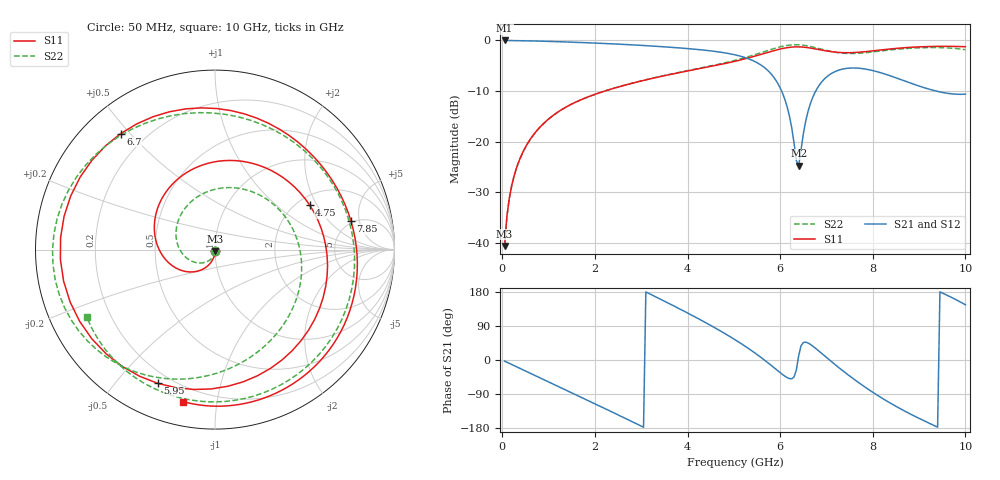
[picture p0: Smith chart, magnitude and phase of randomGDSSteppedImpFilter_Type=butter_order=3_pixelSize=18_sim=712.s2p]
! freq	dB(S11)	phase(S11)	dB(S12)	phase(S12)
!  dB(S21)	phase(S21)	dB(S22)	phase(S22)
!S-par simulation data
#  GHz  S  DB  R 50
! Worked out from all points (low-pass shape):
!   200 points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, 50 MHz to 10 GHz, reference 50 ohm
!   highest |S21| = -0.02 dB at 50 MHz (marker M1); lowest = -24.7 dB at 6.4 GHz (marker M2)
!   |S21| within 3 dB of the highest: start of sweep to 5.097 GHz
!   lowest |S11| = -40.6 dB at 50 MHz (marker M3), VSWR 1.02, Z = 50.1 - j0.929 ohm
!   |S11| at or under -10 dB: start of sweep to 2.218 GHz
!   |S22| runs from -40.7 to -0.9 dB; largest |S21 - S12| = 0
!   S11 on the Smith chart (normalised r, x): 50 MHz: 1.00, -0.02; 4.75 GHz: 2.31, +1.74; 5.95 GHz: 0.15, -0.65; 6.7 GHz: 0.11, +0.47; 7.85 GHz: 4.77, +3.78; 10 GHz: 0.12, -0.81
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0.05  -40.61 -84.0  -0.02 -3.0  -0.02 -3.0  -40.67 -85.5
0.2  -28.83 -96.6  -0.03 -11.7  -0.03 -11.7  -28.91 -102.8
0.5  -21.10 -111.2  -0.08 -29.0  -0.08 -29.0  -21.16 -126.8
1.15  -14.48 -138.8  -0.24 -66.5  -0.24 -66.5  -14.51 -175.7
1.75  -11.54 -162.9  -0.44 -101.1  -0.44 -101.1  -11.55 139.1
2.65  -8.84 159.4  -0.81 -153.6  -0.81 -153.6  -8.83 72.0
3.4  -7.18 121.6  -1.21 161.5  -1.21 161.5  -7.14 20.3
4.15  -5.79 73.5  -1.74 114.5  -1.74 114.5  -5.71 -25.2
4.75  -4.69 25.3  -2.39 73.8  -2.39 73.8  -4.55 -58.2
5.05  -4.08 -3.0  -2.91 51.7  -2.91 51.7  -3.88 -74.6
5.5  -3.00 -52.5  -4.40 14.6  -4.40 14.6  -2.68 -101.6
5.95  -1.82 -113.2  -8.52 -28.5  -8.52 -28.5  -1.40 -135.4
6.2  -1.38 -152.1  -14.94 -49.1  -14.94 -49.1  -0.93 -159.0
6.4  -1.28 175.6  -24.75 11.1  -24.75 11.1  -0.86 180.0
6.7  -1.59 129.1  -11.34 37.1  -11.34 37.1  -1.30 146.8
6.95  -2.01 95.5  -7.68 11.8  -7.68 11.8  -1.89 119.1
7.25  -2.37 62.1  -5.93 -18.5  -5.93 -18.5  -2.43 85.9
7.85  -2.22 11.9  -5.68 -72.9  -5.68 -72.9  -2.43 21.8
8.35  -1.72 -21.2  -6.92 -111.7  -6.92 -111.7  -1.91 -24.7
9.2  -1.22 -67.0  -9.60 -165.8  -9.60 -165.8  -1.43 -89.1
9.6  -1.18 -85.2  -10.44 171.2  -10.44 171.2  -1.48 -117.9
10  -1.26 -101.8  -10.63 145.7  -10.63 145.7  -1.86 -152.2
